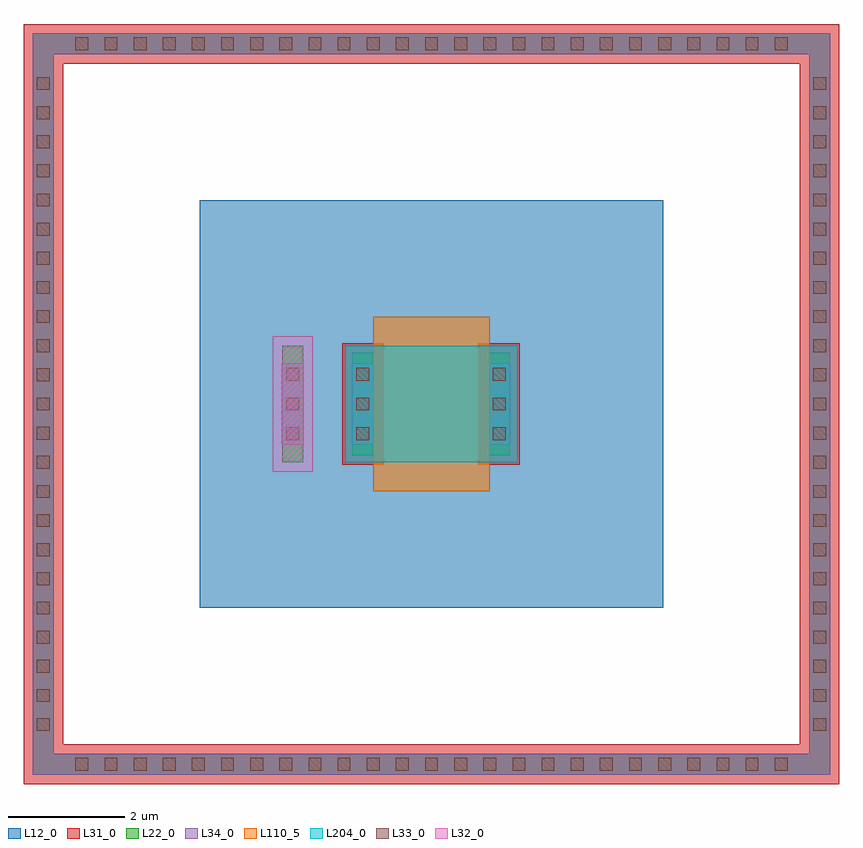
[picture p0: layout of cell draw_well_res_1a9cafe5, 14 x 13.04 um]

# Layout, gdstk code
import gdstk
lib = gdstk.Library(unit=1e-6, precision=1e-09)
def R(c, l, rs):  # rectangles x0, y0, x1, y1
    for r in rs: c.add(gdstk.rectangle(r[:2], r[2:], *l))
def A(c, l, x, y, w, h, nx, ny, dx, dy):  # array of equal rectangles
    R(c, l, [(x+i*dx, y+j*dy, x+i*dx+w, y+j*dy+h) for i in range(nx) for j in range(ny)])
def P(c, l, *ps):  # polygons
    for p in ps: c.add(gdstk.Polygon(p, *l))
L12_0 = (12, 0)
L22_0 = (22, 0)
L31_0 = (31, 0)
L32_0 = (32, 0)
L33_0 = (33, 0)
L34_0 = (34, 0)
L110_5 = (110, 5)
L204_0 = (204, 0)

draw_well_res_1a9cafe5 = lib.new_cell('draw_well_res_1a9cafe5')
R(draw_well_res_1a9cafe5, L12_0, [(-2.98,-2,4.98,5)])
R(draw_well_res_1a9cafe5, L22_0, [(-1.56,0.5,-1.2,2.5), (-0.36,0.62,0,2.38), (1.98,0.62,2.34,2.38)])
P(draw_well_res_1a9cafe5, L22_0, [(7.84,7.86),(-5.84,7.86),(-5.84,-4.5),(-5.48,-4.5),(-5.48,7.5),(7.48,7.5),(7.48,-4.5),(-5.48,-4.5),(-5.84,-4.5),(-5.84,-4.86),(7.84,-4.86)])
R(draw_well_res_1a9cafe5, L31_0, [(-0.53,0.46,0.17,2.54), (1.81,0.46,2.51,2.54)])
P(draw_well_res_1a9cafe5, L31_0, [(8,8.02),(-6,8.02),(-6,-4.34),(-5.32,-4.34),(-5.32,7.34),(7.32,7.34),(7.32,-4.34),(-5.32,-4.34),(-6,-4.34),(-6,-5.02),(8,-5.02)])
R(draw_well_res_1a9cafe5, L32_0, [(-1.72,0.34,-1.04,2.66)])
A(draw_well_res_1a9cafe5, L33_0, -5.11, -4.79, 0.22, 0.22, 25, 2, 0.5, 12.36)
A(draw_well_res_1a9cafe5, L33_0, -5.77, -4.11, 0.22, 0.22, 1, 23, 0, 0.5)
A(draw_well_res_1a9cafe5, L33_0, 7.55, -4.11, 0.22, 0.22, 1, 23, 0, 0.5)
A(draw_well_res_1a9cafe5, L33_0, -1.49, 0.88, 0.22, 0.22, 1, 3, 0, 0.51)
A(draw_well_res_1a9cafe5, L33_0, -0.29, 0.88, 0.22, 0.22, 1, 3, 0, 0.51)
A(draw_well_res_1a9cafe5, L33_0, 2.05, 0.88, 0.22, 0.22, 1, 3, 0, 0.51)
R(draw_well_res_1a9cafe5, L34_0, [(-1.57,0.8,-1.19,2.2), (-0.37,0.8,0.01,2.2), (1.97,0.8,2.35,2.2)])
P(draw_well_res_1a9cafe5, L34_0, [(7.84,7.86),(-5.84,7.86),(-5.84,-4.5),(-5.48,-4.5),(-5.48,7.5),(7.48,7.5),(7.48,-4.5),(-5.48,-4.5),(-5.84,-4.5),(-5.84,-4.86),(7.84,-4.86)])
R(draw_well_res_1a9cafe5, L110_5, [(0,0,2,3)])
R(draw_well_res_1a9cafe5, L204_0, [(-0.48,0.5,2.48,2.5)])

lib.write_gds('draw_well_res_1a9cafe5.gds')
